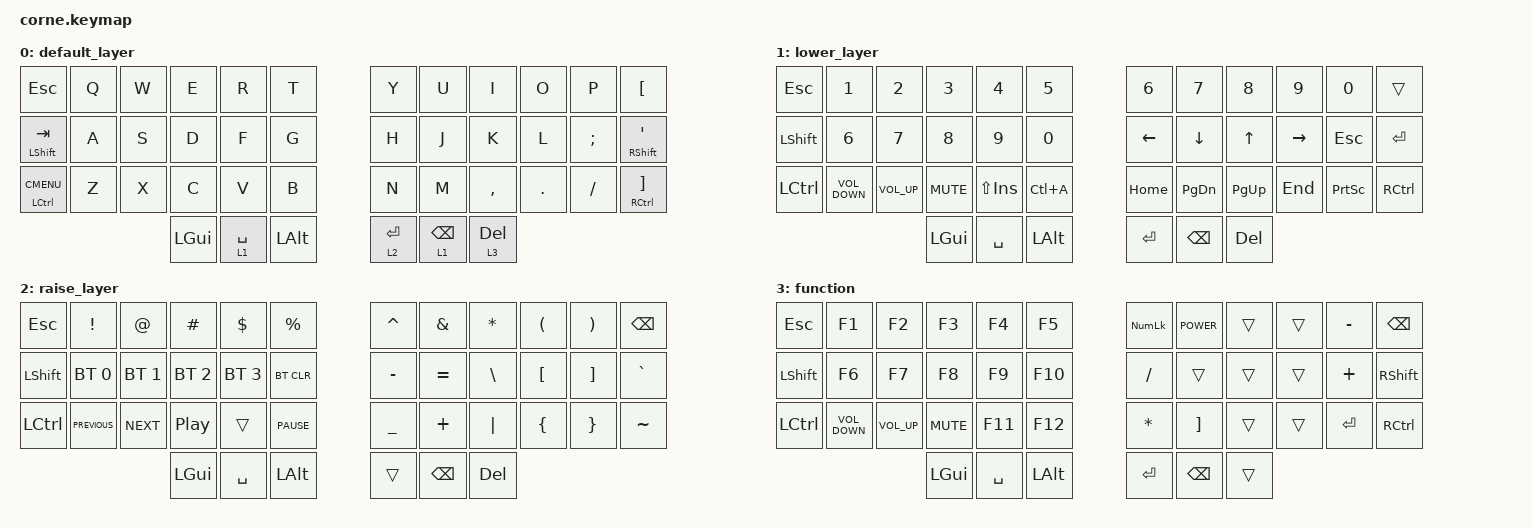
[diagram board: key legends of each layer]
/*
 * Copyright (c) 2020 The ZMK Contributors
 *
 * SPDX-License-Identifier: MIT
 */

#include <behaviors.dtsi>
#include <dt-bindings/zmk/bt.h>
#include <dt-bindings/zmk/keys.h>

&lt { quick_tap_ms = <200>; };

&mt { quick_tap_ms = <200>; };

/ {
    combos {
        compatible = "zmk,combos";

        open_parenthesis {
            bindings = <&kp LEFT_PARENTHESIS>;
            key-positions = <4 5>;
            timeout-ms = <20>;
            layers = <0>;
        };

        close_parenthesis {
            bindings = <&kp RIGHT_PARENTHESIS>;
            key-positions = <6 7>;
            layers = <0>;
            timeout-ms = <20>;
        };

        open_bracket {
            bindings = <&kp LEFT_BRACKET>;
            key-positions = <16 17>;
            timeout-ms = <20>;
            layers = <0>;
        };

        close_bracket {
            bindings = <&kp RIGHT_BRACKET>;
            key-positions = <18 19>;
            timeout-ms = <20>;
            layers = <0>;
        };

        open_brace {
            bindings = <&kp LEFT_BRACE>;
            key-positions = <28 29>;
            timeout-ms = <20>;
            layers = <0>;
        };

        close_brace {
            bindings = <&kp RIGHT_BRACE>;
            key-positions = <30 31>;
            timeout-ms = <20>;
            layers = <0>;
        };

        underscore {
            bindings = <&kp UNDERSCORE>;
            key-positions = <8 7>;
            timeout-ms = <20>;
            layers = <0>;
        };

        dub_quots {
            bindings = <&kp DOUBLE_QUOTES>;
            key-positions = <16 15>;
            timeout-ms = <20>;
            layers = <0>;
        };

        plus {
            bindings = <&kp PLUS>;
            key-positions = <3 2>;
            timeout-ms = <20>;
            layers = <0>;
        };

        sin_quots {
            bindings = <&kp SINGLE_QUOTE>;
            key-positions = <19 20>;
            timeout-ms = <20>;
            layers = <0>;
        };

        pipe {
            bindings = <&kp PIPE>;
            key-positions = <8 9>;
            timeout-ms = <20>;
            layers = <0>;
        };

        minus {
            bindings = <&kp MINUS>;
            key-positions = <3 4>;
            timeout-ms = <20>;
            layers = <0>;
        };
    };

    keymap {
        compatible = "zmk,keymap";

        default_layer {
            // -----------------------------------------------------------------------------------------
            // |  TAB |  Q  |  W  |  E  |  R  |  T  |   |  Y  |  U   |  I  |  O  |  P  | BKSP |
            // | CTRL |  A  |  S  |  D  |  F  |  G  |   |  H  |  J   |  K  |  L  |  ;  |  '   |
            // | SHFT |  Z  |  X  |  C  |  V  |  B  |   |  N  |  M   |  ,  |  .  |  /  | ESC  |
            //                    | GUI | LWR | SPC |   | ENT | RSE  | ALT |

            bindings = <
&kp ESC                   &kp Q  &kp W  &kp E     &kp R        &kp T           &kp Y        &kp U            &kp I         &kp O    &kp P          &kp LEFT_BRACKET
&mt LEFT_SHIFT TAB        &kp A  &kp S  &kp D     &kp F        &kp G           &kp H        &kp J            &kp K         &kp L    &kp SEMICOLON  &mt RIGHT_SHIFT SQT
&mt LEFT_CONTROL K_CMENU  &kp Z  &kp X  &kp C     &kp V        &kp B           &kp N        &kp M            &kp COMMA     &kp DOT  &kp FSLH       &mt RIGHT_CONTROL RIGHT_BRACKET
                                        &kp LGUI  &lt 1 SPACE  &kp LEFT_ALT    &lt 2 ENTER  &lt 1 BACKSPACE  &lt 3 DELETE
            >;
        };

        lower_layer {
            // -----------------------------------------------------------------------------------------
            // |  TAB |  1  |  2  |  3  |  4  |  5  |   |  6  |  7  |  8  |  9  |  0  | BKSP |
            // | BTCLR| BT1 | BT2 | BT3 | BT4 | BT5 |   | LFT | DWN |  UP | RGT |     |      |
            // | SHFT |     |     |     |     |     |   |     |     |     |     |     |      |
            //                    | GUI |     | SPC |   | ENT |     | ALT |

            bindings = <
&kp ESC     &kp N1             &kp N2           &kp N3      &kp N4          &kp N5          &kp N6     &kp N7         &kp N8       &kp N9     &kp N0           &trans
&kp LSHIFT  &kp N6             &kp N7           &kp N8      &kp N9          &kp N0          &kp LEFT   &kp DOWN       &kp UP       &kp RIGHT  &kp ESCAPE       &kp ENTER
&kp LCTRL   &kp C_VOLUME_DOWN  &kp C_VOLUME_UP  &kp K_MUTE  &kp LS(INSERT)  &kp LC(A)       &kp HOME   &kp PAGE_DOWN  &kp PAGE_UP  &kp END    &kp PRINTSCREEN  &kp RIGHT_CONTROL
                                                &kp LGUI    &kp SPACE       &kp LEFT_ALT    &kp ENTER  &kp BACKSPACE  &kp DELETE
            >;
        };

        raise_layer {
            // -----------------------------------------------------------------------------------------
            // |  TAB |  !  |  @  |  #  |  $  |  %  |   |  ^  |  &  |  *  |  (  |  )  | BKSP |
            // | CTRL |     |     |     |     |     |   |  -  |  =  |  [  |  ]  |  \  |  `   |
            // | SHFT |     |     |     |     |     |   |  _  |  +  |  {  |  }  | "|" |  ~   |
            //                    | GUI |     | SPC |   | ENT |     | ALT |

            bindings = <
&kp ESC           &kp EXCL        &kp AT        &kp HASH          &kp DLLR      &kp PRCNT       &kp CARET  &kp AMPS       &kp STAR       &kp LPAR          &kp RPAR           &kp BACKSPACE
&kp LSHIFT        &bt BT_SEL 0    &bt BT_SEL 1  &bt BT_SEL 2      &bt BT_SEL 3  &bt BT_CLR      &kp MINUS  &kp EQUAL      &kp BACKSLASH  &kp LEFT_BRACKET  &kp RIGHT_BRACKET  &kp GRAVE
&kp LEFT_CONTROL  &kp C_PREVIOUS  &kp C_NEXT    &kp C_PLAY_PAUSE  &trans        &kp C_PAUSE     &kp UNDER  &kp PLUS       &kp PIPE       &kp LEFT_BRACE    &kp RIGHT_BRACE    &kp TILDE
                                                &kp LGUI          &kp SPACE     &kp LEFT_ALT    &trans     &kp BACKSPACE  &kp DELETE
            >;
        };

        function {
            bindings = <
&kp ESC     &kp F1             &kp F2           &kp F3      &kp F4     &kp F5          &kp KP_NUMLOCK  &kp C_POWER        &trans  &trans  &kp MINUS  &kp BACKSPACE
&kp LSHIFT  &kp F6             &kp F7           &kp F8      &kp F9     &kp F10         &kp SLASH       &trans             &trans  &trans  &kp PLUS   &kp RSHIFT
&kp LCTRL   &kp C_VOLUME_DOWN  &kp C_VOLUME_UP  &kp K_MUTE  &kp F11    &kp F12         &kp ASTERISK    &kp RIGHT_BRACKET  &trans  &trans  &kp ENTER  &kp RCTRL
                                                &kp LGUI    &kp SPACE  &kp LEFT_ALT    &kp ENTER       &kp BACKSPACE      &trans
            >;
        };
    };
};
